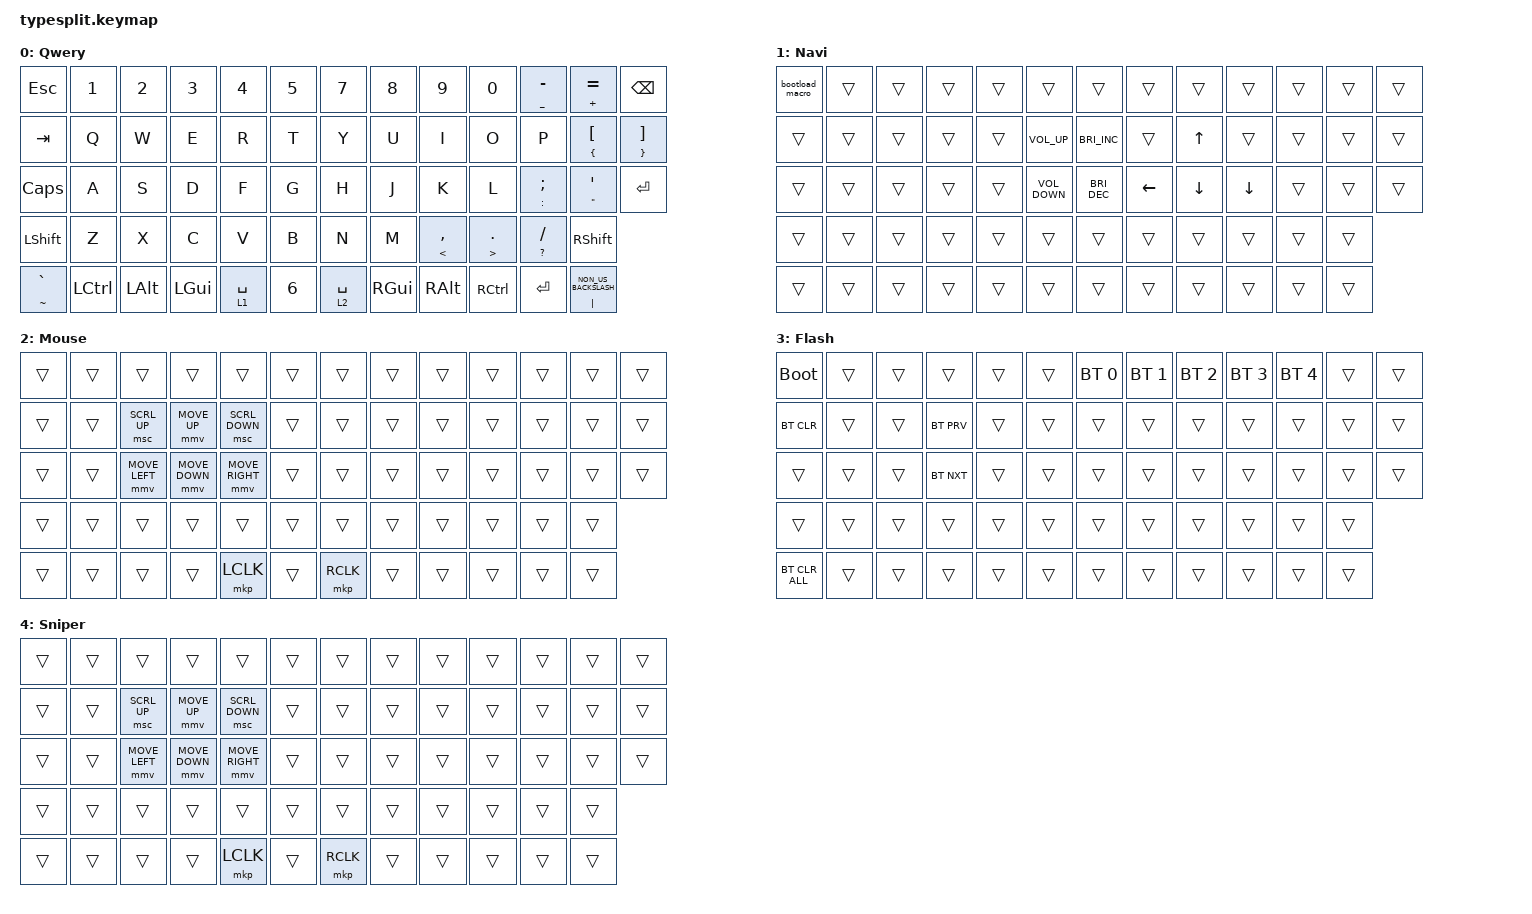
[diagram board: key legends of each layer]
#include <behaviors/mouse_keys.dtsi>
#include <behaviors.dtsi>
#include <dt-bindings/zmk/bt.h>
#include <dt-bindings/zmk/keys.h>
#include <dt-bindings/zmk/mouse.h>

&lt {
    tapping-term-ms = <240>;
    flavor = "balanced";
    quick-tap-ms = <150>;
};

&mt {
    global-quick-tap;
    flavor = "tap-preferred";
    tapping-term-ms = <200>;
};

&sk {
    release-after-ms = <2000>;
    quick-release;
};

/ {
    macros {
        bootload_macro: bootload_macro {
            compatible = "zmk,behavior-macro";
            #binding-cells = <0>;
            bindings = <&bootloader>;
            label = "BOOTLOAD_MACRO";
        };
    };

    combos {
        compatible = "zmk,combos";

        combo_esc {
            timeout-ms = <50>;
            key-positions = <0 1>;
            bindings = <&kp ESC>;
        };

        left_bkt {
            bindings = <&kp LEFT_BRACKET>;
            key-positions = <2 3>;
            timeout-ms = <50>;
        };

        right_bkt {
            bindings = <&kp RIGHT_BRACKET>;
            key-positions = <7 6>;
            timeout-ms = <50>;
        };

        left_par {
            bindings = <&kp LEFT_PARENTHESIS>;
            key-positions = <12 13>;
            timeout-ms = <50>;
        };

        right_par {
            bindings = <&kp RIGHT_PARENTHESIS>;
            key-positions = <16 17>;
            timeout-ms = <50>;
        };

        left_brace {
            bindings = <&kp LEFT_BRACE>;
            key-positions = <22 23>;
            timeout-ms = <50>;
        };

        right_brace {
            bindings = <&kp RIGHT_BRACE>;
            key-positions = <26 27>;
            timeout-ms = <50>;
        };

        bac {
            bindings = <&kp BACKSLASH>;
            key-positions = <5 6>;
            timeout-ms = <50>;
        };

        pipe {
            bindings = <&kp PIPE>;
            key-positions = <3 4>;
            timeout-ms = <50>;
        };
    };

    behaviors {
        hm: homerow_mods {
            compatible = "zmk,behavior-hold-tap";
            label = "HOMEROW_MODS";
            bindings = <&kp>, <&kp>;

            #binding-cells = <2>;
            tapping-term-ms = <200>;
            quick-tap-ms = <180>;
            flavor = "tap-preferred";
        };

        ltq: ltq {
            compatible = "zmk,behavior-hold-tap";
            label = "LTQ";
            bindings = <&mo>, <&kp>;

            #binding-cells = <2>;
            tapping-term-ms = <200>;
            quick-tap-ms = <180>;
        };

        as: auto_shift {
            compatible = "zmk,behavior-hold-tap";
            label = "AUTO_SHIFT";
            bindings = <&kp>, <&kp>;

            #binding-cells = <2>;
            tapping-term-ms = <135>;
            quick-tap-ms = <0>;
        };
    };

    keymap {
        compatible = "zmk,keymap";

        Qwery {
            bindings = <
&kp ESC          &kp NUMBER_1  &kp NUMBER_2  &kp NUMBER_3  &kp NUMBER_4  &kp NUMBER_5    &kp NUMBER_7  &kp NUMBER_8  &kp NUMBER_9         &kp NUMBER_0          &as UNDERSCORE MINUS  &as PLUS EQUAL                  &kp BSPC
&kp TAB          &kp Q         &kp W         &kp E         &kp R         &kp T           &kp Y         &kp U         &kp I                &kp O                 &kp P                 &as LEFT_BRACE LEFT_BRACKET     &as RIGHT_BRACE RIGHT_BRACKET
&kp CAPS         &kp A         &kp S         &kp D         &kp F         &kp G           &kp H         &kp J         &kp K                &kp L                 &as COLON SEMICOLON   &as DOUBLE_QUOTES SINGLE_QUOTE  &kp ENTER
&kp LSHFT        &kp Z         &kp X         &kp C         &kp V         &kp B           &kp N         &kp M         &as LESS_THAN COMMA  &as GREATER_THAN DOT  &as QUESTION SLASH    &kp RSHFT
&as TILDE GRAVE  &kp LCTRL     &kp LALT      &kp LEFT_GUI  &ltq 1 SPACE  &kp NUMBER_6    &ltq 2 SPACE  &kp RGUI      &kp RALT             &kp RCTRL             &kp ENTER             &as PIPE NON_US_BACKSLASH
            >;

            label = "Qwery";
        };

        Navi {
            bindings = <
&bootload_macro  &trans  &trans  &trans  &trans  &trans               &trans                &trans          &trans          &trans          &trans  &trans  &trans
&trans           &trans  &trans  &trans  &trans  &kp C_VOLUME_UP      &kp C_BRIGHTNESS_INC  &trans          &kp UP_ARROW    &trans          &trans  &trans  &trans
&trans           &trans  &trans  &trans  &trans  &kp C_VOLUME_DOWN    &kp C_BRIGHTNESS_DEC  &kp LEFT_ARROW  &kp DOWN_ARROW  &kp DOWN_ARROW  &trans  &trans  &trans
&trans           &trans  &trans  &trans  &trans  &trans               &trans                &trans          &trans          &trans          &trans  &trans
&trans           &trans  &trans  &trans  &trans  &trans               &trans                &trans          &trans          &trans          &trans  &trans
            >;

            label = "Navi";
        };

        Mouse {
            bindings = <
&trans  &trans  &trans          &trans          &trans           &trans    &trans     &trans  &trans  &trans  &trans  &trans  &trans
&trans  &trans  &msc SCRL_UP    &mmv MOVE_UP    &msc SCRL_DOWN   &trans    &trans     &trans  &trans  &trans  &trans  &trans  &trans
&trans  &trans  &mmv MOVE_LEFT  &mmv MOVE_DOWN  &mmv MOVE_RIGHT  &trans    &trans     &trans  &trans  &trans  &trans  &trans  &trans
&trans  &trans  &trans          &trans          &trans           &trans    &trans     &trans  &trans  &trans  &trans  &trans
&trans  &trans  &trans          &trans          &mkp LCLK        &trans    &mkp RCLK  &trans  &trans  &trans  &trans  &trans
            >;

            label = "Mouse";
        };

        Flash {
            bindings = <
&bootloader     &trans  &trans  &trans      &trans  &trans    &bt BT_SEL 0  &bt BT_SEL 1  &bt BT_SEL 2  &bt BT_SEL 3  &bt BT_SEL 4  &trans  &trans
&bt BT_CLR      &trans  &trans  &bt BT_PRV  &trans  &trans    &trans        &trans        &trans        &trans        &trans        &trans  &trans
&trans          &trans  &trans  &bt BT_NXT  &trans  &trans    &trans        &trans        &trans        &trans        &trans        &trans  &trans
&trans          &trans  &trans  &trans      &trans  &trans    &trans        &trans        &trans        &trans        &trans        &trans
&bt BT_CLR_ALL  &trans  &trans  &trans      &trans  &trans    &trans        &trans        &trans        &trans        &trans        &trans
            >;

            label = "Flash";
        };

        Sniper {
            bindings = <
&trans  &trans  &trans          &trans          &trans           &trans    &trans     &trans  &trans  &trans  &trans  &trans  &trans
&trans  &trans  &msc SCRL_UP    &mmv MOVE_UP    &msc SCRL_DOWN   &trans    &trans     &trans  &trans  &trans  &trans  &trans  &trans
&trans  &trans  &mmv MOVE_LEFT  &mmv MOVE_DOWN  &mmv MOVE_RIGHT  &trans    &trans     &trans  &trans  &trans  &trans  &trans  &trans
&trans  &trans  &trans          &trans          &trans           &trans    &trans     &trans  &trans  &trans  &trans  &trans
&trans  &trans  &trans          &trans          &mkp LCLK        &trans    &mkp RCLK  &trans  &trans  &trans  &trans  &trans
            >;

            label = "Sniper";
        };
    };

    conditional_layers {
        compatible = "zmk,conditional-layers";

        Flash {
            if-layers = <1 2>;
            then-layer = <3>;
        };
    };
};
